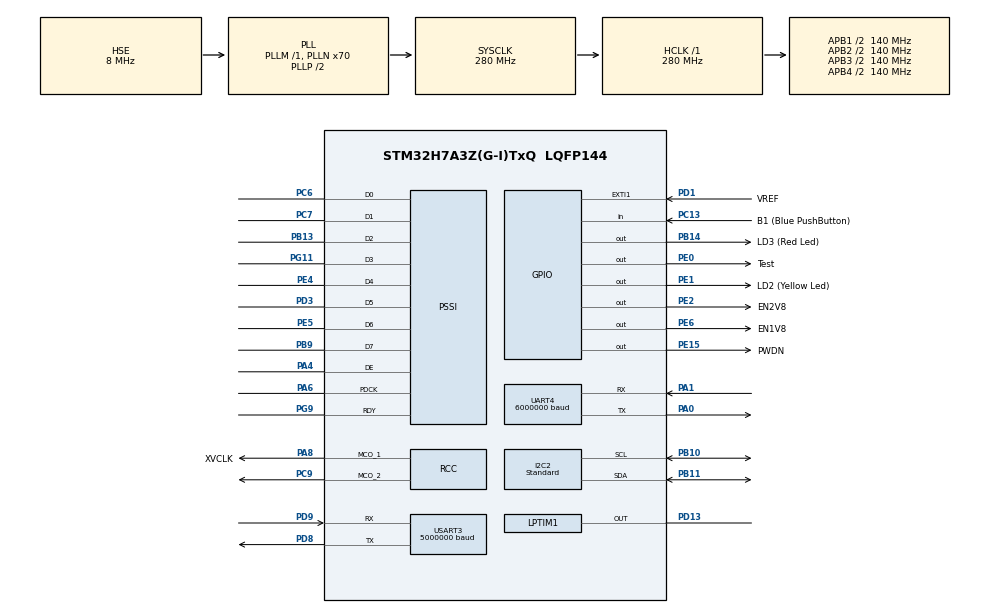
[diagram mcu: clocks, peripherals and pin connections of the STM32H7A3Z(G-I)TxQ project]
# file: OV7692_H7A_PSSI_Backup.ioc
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CORTEX_M7.CPU_DCache=Enabled
CORTEX_M7.CPU_ICache=Enabled
CORTEX_M7.MPU_Control=__NULL
Dma.DCMI_PSSI.0.Direction=DMA_PERIPH_TO_MEMORY
Dma.DCMI_PSSI.0.EventEnable=DISABLE
Dma.DCMI_PSSI.0.FIFOMode=DMA_FIFOMODE_ENABLE
Dma.DCMI_PSSI.0.FIFOThreshold=DMA_FIFO_THRESHOLD_FULL
Dma.DCMI_PSSI.0.Instance=DMA1_Stream0
Dma.DCMI_PSSI.0.MemBurst=DMA_MBURST_SINGLE
Dma.DCMI_PSSI.0.MemDataAlignment=DMA_MDATAALIGN_BYTE
Dma.DCMI_PSSI.0.MemInc=DMA_MINC_ENABLE
Dma.DCMI_PSSI.0.Mode=DMA_NORMAL
Dma.DCMI_PSSI.0.PeriphBurst=DMA_PBURST_SINGLE
Dma.DCMI_PSSI.0.PeriphDataAlignment=DMA_PDATAALIGN_WORD
Dma.DCMI_PSSI.0.PeriphInc=DMA_PINC_DISABLE
Dma.DCMI_PSSI.0.Polarity=HAL_DMAMUX_REQ_GEN_RISING
Dma.DCMI_PSSI.0.Priority=DMA_PRIORITY_LOW
Dma.DCMI_PSSI.0.RequestNumber=1
Dma.DCMI_PSSI.0.SignalID=NONE
Dma.DCMI_PSSI.0.SyncEnable=DISABLE
Dma.DCMI_PSSI.0.SyncPolarity=HAL_DMAMUX_SYNC_NO_EVENT
Dma.DCMI_PSSI.0.SyncRequestNumber=1
Dma.DCMI_PSSI.0.SyncSignalID=NONE
Dma.Request0=DCMI_PSSI
I2C2.I2C_Speed_Mode=I2C_Standard
I2C2.Timing=0x20B0CCFF
Mcu.Family=STM32H7
Mcu.Name=STM32H7A3Z(G-I)TxQ
Mcu.Package=LQFP144
NVIC.DCMI_PSSI_IRQn=true\:0\:0\:false\:false\:true\:true\:true\:true
NVIC.DMA1_Stream0_IRQn=true\:0\:0\:false\:false\:true\:true\:true\:true
NVIC.EXTI1_IRQn=true\:0\:0\:false\:false\:true\:true\:true\:true
NVIC.PriorityGroup=NVIC_PRIORITYGROUP_4
NVIC.UART4_IRQn=true\:0\:0\:false\:false\:true\:true\:true\:true
NVIC.USART3_IRQn=true\:0\:0\:false\:false\:true\:true\:true\:true
PA0.GPIO_Speed=GPIO_SPEED_FREQ_VERY_HIGH
PA0.Mode=Asynchronous
PA0.Signal=UART4_TX
PA1.Mode=Asynchronous
PA1.Signal=UART4_RX
PA4.GPIO_Speed=GPIO_SPEED_FREQ_VERY_HIGH
PA4.Mode=PSSI_8
PA4.Signal=PSSI_DE
PA6.GPIO_Speed=GPIO_SPEED_FREQ_VERY_HIGH
PA6.Mode=PSSI_8
PA6.Signal=PSSI_PDCK
PA8.GPIO_Label=XVCLK
PA8.GPIO_Speed=GPIO_SPEED_FREQ_VERY_HIGH
PA8.Mode=Clock-out-1
PA8.Signal=RCC_MCO_1
PB10.GPIO_Pu=GPIO_PULLUP
PB10.GPIO_Speed=GPIO_SPEED_FREQ_VERY_HIGH
PB10.Mode=I2C
PB10.Signal=I2C2_SCL
PB11.GPIO_Pu=GPIO_PULLUP
PB11.GPIO_Speed=GPIO_SPEED_FREQ_VERY_HIGH
PB11.Mode=I2C
PB11.Signal=I2C2_SDA
PB13.GPIO_Speed=GPIO_SPEED_FREQ_VERY_HIGH
PB13.Mode=PSSI_8
PB13.Signal=PSSI_D2
PB14.GPIO_Label=LD3 (Red Led)
PB14.Signal=GPIO_Output
PB9.GPIO_Speed=GPIO_SPEED_FREQ_VERY_HIGH
PB9.Mode=PSSI_8
PB9.Signal=PSSI_D7
PC13.GPIO_Label=B1 (Blue PushButton)
PC13.Signal=GPIO_Input
PC14-OSC32_IN.GPIO_Label=OSC32_IN
PC14-OSC32_IN.Mode=LSE-External-Oscillator
PC14-OSC32_IN.Signal=RCC_OSC32_IN
PC15-OSC32_OUT.GPIO_Label=OSC32_OUT
PC15-OSC32_OUT.Mode=LSE-External-Oscillator
PC15-OSC32_OUT.Signal=RCC_OSC32_OUT
PC6.GPIO_Speed=GPIO_SPEED_FREQ_VERY_HIGH
PC6.Mode=PSSI_8
PC6.Signal=PSSI_D0
PC7.GPIO_Speed=GPIO_SPEED_FREQ_VERY_HIGH
PC7.Mode=PSSI_8
PC7.Signal=PSSI_D1
PC9.Mode=Clock-out-2
PC9.Signal=RCC_MCO_2
PD1.GPIO_Label=VREF
PD1.GPIO_ModeDefaultEXTI=GPIO_MODE_IT_FALLING
PD1.Signal=GPXTI1
PD13.GPIO_Speed=GPIO_SPEED_FREQ_VERY_HIGH
PD13.Mode=WaveformGeneration
PD13.Signal=LPTIM1_OUT
PD3.GPIO_Speed=GPIO_SPEED_FREQ_VERY_HIGH
PD3.Mode=PSSI_8
PD3.Signal=PSSI_D5
PD8.GPIO_ModeDefaultPP=GPIO_MODE_AF_PP
PD8.GPIO_PuPd=GPIO_NOPULL
PD8.GPIO_Speed=GPIO_SPEED_FREQ_VERY_HIGH
PD8.Mode=Asynchronous
PD8.Signal=USART3_TX
PD9.GPIO_ModeDefaultPP=GPIO_MODE_AF_PP
PD9.GPIO_PuPd=GPIO_NOPULL
PD9.GPIO_Speed=GPIO_SPEED_FREQ_VERY_HIGH
PD9.Mode=Asynchronous
PD9.Signal=USART3_RX
PE0.GPIO_Label=Test
PE0.GPIO_Speed=GPIO_SPEED_FREQ_HIGH
PE0.Signal=GPIO_Output
PE1.GPIO_Label=LD2 (Yellow Led)
PE1.Signal=GPIO_Output
PE15.GPIO_Label=PWDN
PE15.GPIO_PuPd=GPIO_PULLUP
PE15.PinState=GPIO_PIN_SET
PE15.Signal=GPIO_Output
PE2.GPIO_Label=EN2V8
PE2.Signal=GPIO_Output
PE4.GPIO_Speed=GPIO_SPEED_FREQ_VERY_HIGH
PE4.Mode=PSSI_8
PE4.Signal=PSSI_D4
PE5.GPIO_Speed=GPIO_SPEED_FREQ_VERY_HIGH
PE5.Mode=PSSI_8
PE5.Signal=PSSI_D6
PE6.GPIO_Label=EN1V8
PE6.Signal=GPIO_Output
PG11.GPIO_Speed=GPIO_SPEED_FREQ_VERY_HIGH
PG11.Mode=PSSI_8
PG11.Signal=PSSI_D3
PG9.GPIO_Speed=GPIO_SPEED_FREQ_VERY_HIGH
PG9.Mode=PSSI_8
PG9.Signal=PSSI_RDY
PH0-OSC_IN.GPIO_Label=PH0-MCU
PH0-OSC_IN.Mode=HSE-External-Clock-Source
PH0-OSC_IN.Signal=RCC_OSC_IN
PSSI.BusWidth=HAL_PSSI_8LINES
PSSI.ClockPolarity=HAL_PSSI_RISING_EDGE
ProjectManager.HeapSize=0x200
ProjectManager.StackSize=0x400
ProjectManager.TargetToolchain=STM32CubeIDE
RCC.ADCFreq_Value=256000000
RCC.APB1Freq_Value=140000000
RCC.APB2Freq_Value=140000000
RCC.APB3Freq_Value=140000000
RCC.APB4Freq_Value=140000000
RCC.CDPPRE=RCC_APB3_DIV2
RCC.CDPPRE1=RCC_APB1_DIV2
RCC.CDPPRE2=RCC_APB2_DIV2
RCC.CortexFreq_Value=280000000
RCC.DIVM1=1
RCC.DIVM2=1
RCC.DIVM3=1
RCC.DIVN1=70
RCC.DIVN2=64
RCC.DIVN3=24
RCC.DIVQ1=4
RCC.DIVQ2=1
RCC.HCLKFreq_Value=280000000
RCC.HSE_VALUE=8000000
RCC.LPTIM1CLockSelection=RCC_LPTIM1CLKSOURCE_PLL3
RCC.PLLFRACN=0
RCC.PLLSourceVirtual=RCC_PLLSOURCE_HSE
RCC.PWR_Regulator_Voltage_Scale=PWR_REGULATOR_VOLTAGE_SCALE0
RCC.RCC_MCO1Source=RCC_MCO1SOURCE_HSI48
RCC.RCC_MCO2Source=RCC_MCO2SOURCE_HSE
RCC.RCC_MCODiv1=RCC_MCODIV_8
RCC.RCC_MCODiv2=RCC_MCODIV_4
RCC.SRDPPRE=RCC_APB4_DIV2
RCC.SYSCLKFreq_VALUE=280000000
RCC.SYSCLKSource=RCC_SYSCLKSOURCE_PLLCLK
RCC.SupplySource=PWR_DIRECT_SMPS_SUPPLY
RCC.USART234578CLockSelection=RCC_USART234578CLKSOURCE_PLL2
RCC.USBCLockSelection=RCC_USBCLKSOURCE_HSI48
RCC.USBFreq_Value=48000000
RCC.VDD_VALUE=1.8
UART4.BaudRate=6000000
UART4.Mode=MODE_TX
UART4.OverSampling=UART_OVERSAMPLING_8
USART3.BaudRate=5000000
USART3.FIFOMode=FIFOMODE_ENABLE
USART3.Mode=MODE_TX
USART3.OneBitSampling=UART_ONE_BIT_SAMPLE_DISABLE
USART3.OverSampling=UART_OVERSAMPLING_8
USART3.RXFIFOThreshold=RXFIFO_THRESHOLD_1QUARTERFULL
USART3.TXFIFOThreshold=TXFIFO_THRESHOLD_HALFFULL
USART3.VirtualMode-Asynchronous=VM_ASYNC
VP_LPTIM1_VS_LPTIM_counterModeInternalClock.Mode=Counts__internal_clock_event_00
board=NUCLEO-H7A3ZI-Q

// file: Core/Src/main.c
/* USER CODE BEGIN Header */
/**
  DMA_HandleTypeDef				*hdmatx;
  DMA_HandleTypeDef 			*hdmarx;
  ******************************************************************************
  * @file           : main.c
  * @brief          : Main program body
  ******************************************************************************
  * @attention
  *
  * Copyright (c) 2021 STMicroelectronics.
  * All rights reserved.
  *
  * This software is licensed under terms that can be found in the LICENSE file
  * in the root directory of this software component.
  * If no LICENSE file comes with this software, it is provided AS-IS.
  *
  ******************************************************************************
  */
/* USER CODE END Header */
#include "main.h"

/* USER CODE BEGIN Includes */

#include "OV7692.h"

/* USER CODE END Includes */

I2C_HandleTypeDef hi2c2;

LPTIM_HandleTypeDef hlptim1;

PSSI_HandleTypeDef hpssi;
DMA_HandleTypeDef hdma_dcmi_pssi;

UART_HandleTypeDef huart4;
UART_HandleTypeDef huart3;

/* USER CODE BEGIN PV */

//
//
uint32_t PeriodValue = 8 - 1;

uint32_t PulseValue = 4 - 1;
uint32_t length = 638*480*2;
uint8_t data[638*480*2+ 3] = {0};
uint32_t i = 0;
uint32_t j = 0;
uint8_t footer[3] = {13, 0, 10};
uint16_t chunck = 1276;
uint16_t lines = 480;

uint16_t PSSI_HAL_PSSI_TransmitComplete_count = 0;
uint32_t shift = 0;
uint8_t start = 0;
uint8_t end = 0;
uint8_t uart_done = 1;
uint16_t PSSI_HAL_PSSI_ReceiveComplete_count = 0;
uint16_t PSSI_HAL_PSSI_ErrorCallback_count = 0;
/* USER CODE END PV */

void SystemClock_Config(void);
void PeriphCommonClock_Config(void);
static void MX_GPIO_Init(void);
static void MX_I2C2_Init(void);
static void MX_USART3_UART_Init(void);
static void MX_DMA_Init(void);
static void MX_PSSI_Init(void);
static void MX_LPTIM1_Init(void);
static void MX_UART4_Init(void);
/* USER CODE BEGIN PFP */
static void MPU_Config(void);
void transfer_done(void);
//uint32_t data = 0;
/* USER CODE END PFP */

int main(void)
{

  /* Enable I-Cache---------------------------------------------------------*/
  SCB_EnableICache();
//
//  /* Enable D-Cache---------------------------------------------------------*/
  SCB_EnableDCache();

  /* MCU Configuration--------------------------------------------------------*/

  /* Reset of all peripherals, Initializes the Flash interface and the Systick. */
  HAL_Init();

  /* Configure the system clock */
  SystemClock_Config();

/* Configure the peripherals common clocks */
  PeriphCommonClock_Config();

  /* Initialize all configured peripherals */
  MX_GPIO_Init();
  MX_I2C2_Init();
  MX_USART3_UART_Init();
  MX_DMA_Init();
  MX_PSSI_Init();
  MX_LPTIM1_Init();
  MX_UART4_Init();
  /* USER CODE BEGIN 2 */
  MPU_Config();
  HAL_ResumeTick();
  HAL_Delay(10);
  HAL_GPIO_WritePin(EN1V8_GPIO_Port, EN1V8_Pin, GPIO_PIN_SET);
  HAL_Delay(1);
  HAL_GPIO_WritePin(EN2V8_GPIO_Port, EN2V8_Pin, GPIO_PIN_SET);
  HAL_Delay(1);
  HAL_LPTIM_PWM_Start(&hlptim1, PeriodValue, PulseValue);
  HAL_GPIO_WritePin(PWDN_GPIO_Port, PWDN_Pin, GPIO_PIN_RESET);

  camera_init(&hi2c2);
  HAL_Delay(1000);

  __HAL_GPIO_EXTI_CLEAR_IT(VREF_Pin);
  HAL_Delay(1);
  HAL_NVIC_SetPriority(EXTI1_IRQn, 0, 0);
  HAL_NVIC_EnableIRQ(EXTI1_IRQn);

  /* USER CODE END 2 */

  /* Infinite loop */
  /* USER CODE BEGIN WHILE */
 while (1)
  {

	 if (start == 1)
	 {

	    shift = chunck * (PSSI_HAL_PSSI_ReceiveComplete_count + PSSI_HAL_PSSI_ErrorCallback_count);
	    HAL_PSSI_Receive_DMA(&hpssi, (uint32_t*)&data[shift] , chunck);
	    HAL_SuspendTick();
	    HAL_PWR_EnterSLEEPMode(PWR_MAINREGULATOR_ON, PWR_SLEEPENTRY_WFI);
	 }
	 if (end == 1)
	 {
		 end = 0;
		 HAL_ResumeTick();
		 PSSI_HAL_PSSI_ReceiveComplete_count = 0;
		 PSSI_HAL_PSSI_ErrorCallback_count = 0;
		 i=0;
		 while(i < 551233)
		 {
//			 if(uart_done == 1)
//		 	 {
//			 	 uart_done = 0;

			 	 HAL_UART_Transmit(&huart3, &data[i], 61248, 0xFFFF);
			 	 i = i + 61248;
//		 	 }
		 }
		 HAL_UART_Transmit(&huart3, footer, 3, 0xFF);
		 HAL_Delay(90);
		 HAL_GPIO_WritePin(Test_GPIO_Port, Test_Pin, GPIO_PIN_RESET);
		  __HAL_GPIO_EXTI_CLEAR_IT(VREF_Pin);
		  HAL_NVIC_SetPriority(EXTI1_IRQn, 0, 0);
		  HAL_NVIC_EnableIRQ(EXTI1_IRQn);

	 }

    /* USER CODE END WHILE */

  }
}

void SystemClock_Config(void)
{
  RCC_OscInitTypeDef RCC_OscInitStruct = {0};
  RCC_ClkInitTypeDef RCC_ClkInitStruct = {0};

  /** Supply configuration update enable
  */
  HAL_PWREx_ConfigSupply(PWR_DIRECT_SMPS_SUPPLY);
  /** Configure the main internal regulator output voltage
  */
  __HAL_PWR_VOLTAGESCALING_CONFIG(PWR_REGULATOR_VOLTAGE_SCALE0);

  while(!__HAL_PWR_GET_FLAG(PWR_FLAG_VOSRDY)) {}
  /** Macro to configure the PLL clock source
  */
  __HAL_RCC_PLL_PLLSOURCE_CONFIG(RCC_PLLSOURCE_HSE);
  /** Initializes the RCC Oscillators according to the specified parameters
  * in the RCC_OscInitTypeDef structure.
  */
  RCC_OscInitStruct.OscillatorType = RCC_OSCILLATORTYPE_HSI48|RCC_OSCILLATORTYPE_HSE;
  RCC_OscInitStruct.HSEState = RCC_HSE_BYPASS;
  RCC_OscInitStruct.HSI48State = RCC_HSI48_ON;
  RCC_OscInitStruct.PLL.PLLState = RCC_PLL_ON;
  RCC_OscInitStruct.PLL.PLLSource = RCC_PLLSOURCE_HSE;
  RCC_OscInitStruct.PLL.PLLM = 1;
  RCC_OscInitStruct.PLL.PLLN = 70;
  RCC_OscInitStruct.PLL.PLLP = 2;
  RCC_OscInitStruct.PLL.PLLQ = 4;
  RCC_OscInitStruct.PLL.PLLR = 2;
  RCC_OscInitStruct.PLL.PLLRGE = RCC_PLL1VCIRANGE_3;
  RCC_OscInitStruct.PLL.PLLVCOSEL = RCC_PLL1VCOWIDE;
  RCC_OscInitStruct.PLL.PLLFRACN = 0;
  if (HAL_RCC_OscConfig(&RCC_OscInitStruct) != HAL_OK)
  {
    Error_Handler();
  }
  /** Initializes the CPU, AHB and APB buses clocks
  */
  RCC_ClkInitStruct.ClockType = RCC_CLOCKTYPE_HCLK|RCC_CLOCKTYPE_SYSCLK
                              |RCC_CLOCKTYPE_PCLK1|RCC_CLOCKTYPE_PCLK2
                              |RCC_CLOCKTYPE_D3PCLK1|RCC_CLOCKTYPE_D1PCLK1;
  RCC_ClkInitStruct.SYSCLKSource = RCC_SYSCLKSOURCE_PLLCLK;
  RCC_ClkInitStruct.SYSCLKDivider = RCC_SYSCLK_DIV1;
  RCC_ClkInitStruct.AHBCLKDivider = RCC_HCLK_DIV1;
  RCC_ClkInitStruct.APB3CLKDivider = RCC_APB3_DIV2;
  RCC_ClkInitStruct.APB1CLKDivider = RCC_APB1_DIV2;
  RCC_ClkInitStruct.APB2CLKDivider = RCC_APB2_DIV2;
  RCC_ClkInitStruct.APB4CLKDivider = RCC_APB4_DIV2;

  if (HAL_RCC_ClockConfig(&RCC_ClkInitStruct, FLASH_LATENCY_7) != HAL_OK)
  {
    Error_Handler();
  }
  HAL_RCC_MCOConfig(RCC_MCO1, RCC_MCO1SOURCE_HSI48, RCC_MCODIV_8);
  HAL_RCC_MCOConfig(RCC_MCO2, RCC_MCO2SOURCE_HSE, RCC_MCODIV_4);
}

void PeriphCommonClock_Config(void)
{
  RCC_PeriphCLKInitTypeDef PeriphClkInitStruct = {0};

  /** Initializes the peripherals clock
  */
  PeriphClkInitStruct.PeriphClockSelection = RCC_PERIPHCLK_UART4|RCC_PERIPHCLK_USART3;
  PeriphClkInitStruct.PLL2.PLL2M = 1;
  PeriphClkInitStruct.PLL2.PLL2N = 64;
  PeriphClkInitStruct.PLL2.PLL2P = 2;
  PeriphClkInitStruct.PLL2.PLL2Q = 1;
  PeriphClkInitStruct.PLL2.PLL2R = 2;
  PeriphClkInitStruct.PLL2.PLL2RGE = RCC_PLL2VCIRANGE_3;
  PeriphClkInitStruct.PLL2.PLL2VCOSEL = RCC_PLL2VCOWIDE;
  PeriphClkInitStruct.PLL2.PLL2FRACN = 0;
  PeriphClkInitStruct.Usart234578ClockSelection = RCC_USART234578CLKSOURCE_PLL2;
  if (HAL_RCCEx_PeriphCLKConfig(&PeriphClkInitStruct) != HAL_OK)
  {
    Error_Handler();
  }
}

static void MX_I2C2_Init(void)
{

  hi2c2.Instance = I2C2;
  hi2c2.Init.Timing = 0x20B0CCFF;
  hi2c2.Init.OwnAddress1 = 0;
  hi2c2.Init.AddressingMode = I2C_ADDRESSINGMODE_7BIT;
  hi2c2.Init.DualAddressMode = I2C_DUALADDRESS_DISABLE;
  hi2c2.Init.OwnAddress2 = 0;
  hi2c2.Init.OwnAddress2Masks = I2C_OA2_NOMASK;
  hi2c2.Init.GeneralCallMode = I2C_GENERALCALL_DISABLE;
  hi2c2.Init.NoStretchMode = I2C_NOSTRETCH_DISABLE;
  if (HAL_I2C_Init(&hi2c2) != HAL_OK)
  {
    Error_Handler();
  }
  /** Configure Analogue filter
  */
  if (HAL_I2CEx_ConfigAnalogFilter(&hi2c2, I2C_ANALOGFILTER_ENABLE) != HAL_OK)
  {
    Error_Handler();
  }
  /** Configure Digital filter
  */
  if (HAL_I2CEx_ConfigDigitalFilter(&hi2c2, 0) != HAL_OK)
  {
    Error_Handler();
  }

}

static void MX_LPTIM1_Init(void)
{

  hlptim1.Instance = LPTIM1;
  hlptim1.Init.Clock.Source = LPTIM_CLOCKSOURCE_APBCLOCK_LPOSC;
  hlptim1.Init.Clock.Prescaler = LPTIM_PRESCALER_DIV1;
  hlptim1.Init.Trigger.Source = LPTIM_TRIGSOURCE_SOFTWARE;
  hlptim1.Init.OutputPolarity = LPTIM_OUTPUTPOLARITY_HIGH;
  hlptim1.Init.UpdateMode = LPTIM_UPDATE_IMMEDIATE;
  hlptim1.Init.CounterSource = LPTIM_COUNTERSOURCE_INTERNAL;
  hlptim1.Init.Input1Source = LPTIM_INPUT1SOURCE_GPIO;
  hlptim1.Init.Input2Source = LPTIM_INPUT2SOURCE_GPIO;
  if (HAL_LPTIM_Init(&hlptim1) != HAL_OK)
  {
    Error_Handler();
  }

}

static void MX_PSSI_Init(void)
{

  hpssi.Instance = PSSI;
  hpssi.Init.DataWidth = HAL_PSSI_8BITS;
  hpssi.Init.BusWidth = HAL_PSSI_8LINES;
  hpssi.Init.ControlSignal = HAL_PSSI_DE_RDY_DISABLE;
  hpssi.Init.ClockPolarity = HAL_PSSI_RISING_EDGE;
  hpssi.Init.DataEnablePolarity = HAL_PSSI_DEPOL_ACTIVE_LOW;
  hpssi.Init.ReadyPolarity = HAL_PSSI_RDYPOL_ACTIVE_LOW;
  if (HAL_PSSI_Init(&hpssi) != HAL_OK)
  {
    Error_Handler();
  }

}

static void MX_UART4_Init(void)
{

  huart4.Instance = UART4;
  huart4.Init.BaudRate = 6000000;
  huart4.Init.WordLength = UART_WORDLENGTH_8B;
  huart4.Init.StopBits = UART_STOPBITS_1;
  huart4.Init.Parity = UART_PARITY_NONE;
  huart4.Init.Mode = UART_MODE_TX;
  huart4.Init.HwFlowCtl = UART_HWCONTROL_NONE;
  huart4.Init.OverSampling = UART_OVERSAMPLING_8;
  huart4.Init.OneBitSampling = UART_ONE_BIT_SAMPLE_DISABLE;
  huart4.Init.ClockPrescaler = UART_PRESCALER_DIV1;
  huart4.AdvancedInit.AdvFeatureInit = UART_ADVFEATURE_NO_INIT;
  if (HAL_UART_Init(&huart4) != HAL_OK)
  {
    Error_Handler();
  }
  if (HAL_UARTEx_SetTxFifoThreshold(&huart4, UART_TXFIFO_THRESHOLD_1_8) != HAL_OK)
  {
    Error_Handler();
  }
  if (HAL_UARTEx_SetRxFifoThreshold(&huart4, UART_RXFIFO_THRESHOLD_1_8) != HAL_OK)
  {
    Error_Handler();
  }
  if (HAL_UARTEx_DisableFifoMode(&huart4) != HAL_OK)
  {
    Error_Handler();
  }

}

static void MX_USART3_UART_Init(void)
{

  huart3.Instance = USART3;
  huart3.Init.BaudRate = 7000000;
  huart3.Init.WordLength = UART_WORDLENGTH_8B;
  huart3.Init.StopBits = UART_STOPBITS_1;
  huart3.Init.Parity = UART_PARITY_NONE;
  huart3.Init.Mode = UART_MODE_TX;
  huart3.Init.HwFlowCtl = UART_HWCONTROL_NONE;
  huart3.Init.OverSampling = UART_OVERSAMPLING_8;
  huart3.Init.OneBitSampling = UART_ONE_BIT_SAMPLE_DISABLE;
  huart3.Init.ClockPrescaler = UART_PRESCALER_DIV1;
  huart3.AdvancedInit.AdvFeatureInit = UART_ADVFEATURE_NO_INIT;
  if (HAL_UART_Init(&huart3) != HAL_OK)
  {
    Error_Handler();
  }

  /* USER CODE BEGIN USART3_Init 2 */

//  HAL_UART_RegisterCallback(&huart3, HAL_UART_TX_COMPLETE_CB_ID, transfer_done);
  /* USER CODE END USART3_Init 2 */

}

static void MX_DMA_Init(void)
{

  /* DMA controller clock enable */
  __HAL_RCC_DMA1_CLK_ENABLE();

  /* DMA interrupt init */
  /* DMA1_Stream0_IRQn interrupt configuration */
  HAL_NVIC_SetPriority(DMA1_Stream0_IRQn, 0, 0);
  HAL_NVIC_EnableIRQ(DMA1_Stream0_IRQn);

}

static void MX_GPIO_Init(void)
{
  GPIO_InitTypeDef GPIO_InitStruct = {0};

  /* GPIO Ports Clock Enable */
  __HAL_RCC_GPIOE_CLK_ENABLE();
  __HAL_RCC_GPIOC_CLK_ENABLE();
  __HAL_RCC_GPIOH_CLK_ENABLE();
  __HAL_RCC_GPIOA_CLK_ENABLE();
  __HAL_RCC_GPIOB_CLK_ENABLE();
  __HAL_RCC_GPIOD_CLK_ENABLE();
  __HAL_RCC_GPIOG_CLK_ENABLE();

  /*Configure GPIO pin Output Level */
  HAL_GPIO_WritePin(GPIOE, EN2V8_Pin|EN1V8_Pin|Test_Pin|LD2_Pin, GPIO_PIN_RESET);

  /*Configure GPIO pin Output Level */
  HAL_GPIO_WritePin(PWDN_GPIO_Port, PWDN_Pin, GPIO_PIN_SET);

  /*Configure GPIO pin Output Level */
  HAL_GPIO_WritePin(LD3_GPIO_Port, LD3_Pin, GPIO_PIN_RESET);

  /*Configure GPIO pins : EN2V8_Pin EN1V8_Pin LD2_Pin */
  GPIO_InitStruct.Pin = EN2V8_Pin|EN1V8_Pin|LD2_Pin;
  GPIO_InitStruct.Mode = GPIO_MODE_OUTPUT_PP;
  GPIO_InitStruct.Pull = GPIO_NOPULL;
  GPIO_InitStruct.Speed = GPIO_SPEED_FREQ_LOW;
  HAL_GPIO_Init(GPIOE, &GPIO_InitStruct);

  /*Configure GPIO pin : B1_Pin */
  GPIO_InitStruct.Pin = B1_Pin;
  GPIO_InitStruct.Mode = GPIO_MODE_INPUT;
  GPIO_InitStruct.Pull = GPIO_NOPULL;
  HAL_GPIO_Init(B1_GPIO_Port, &GPIO_InitStruct);

  /*Configure GPIO pin : PWDN_Pin */
  GPIO_InitStruct.Pin = PWDN_Pin;
  GPIO_InitStruct.Mode = GPIO_MODE_OUTPUT_PP;
  GPIO_InitStruct.Pull = GPIO_PULLUP;
  GPIO_InitStruct.Speed = GPIO_SPEED_FREQ_LOW;
  HAL_GPIO_Init(PWDN_GPIO_Port, &GPIO_InitStruct);

  /*Configure GPIO pin : LD3_Pin */
  GPIO_InitStruct.Pin = LD3_Pin;
  GPIO_InitStruct.Mode = GPIO_MODE_OUTPUT_PP;
  GPIO_InitStruct.Pull = GPIO_NOPULL;
  GPIO_InitStruct.Speed = GPIO_SPEED_FREQ_LOW;
  HAL_GPIO_Init(LD3_GPIO_Port, &GPIO_InitStruct);

  /*Configure GPIO pin : PC9 */
  GPIO_InitStruct.Pin = GPIO_PIN_9;
  GPIO_InitStruct.Mode = GPIO_MODE_AF_PP;
  GPIO_InitStruct.Pull = GPIO_NOPULL;
  GPIO_InitStruct.Speed = GPIO_SPEED_FREQ_LOW;
  GPIO_InitStruct.Alternate = GPIO_AF0_MCO;
  HAL_GPIO_Init(GPIOC, &GPIO_InitStruct);

  /*Configure GPIO pin : XVCLK_Pin */
  GPIO_InitStruct.Pin = XVCLK_Pin;
  GPIO_InitStruct.Mode = GPIO_MODE_AF_PP;
  GPIO_InitStruct.Pull = GPIO_NOPULL;
  GPIO_InitStruct.Speed = GPIO_SPEED_FREQ_VERY_HIGH;
  GPIO_InitStruct.Alternate = GPIO_AF0_MCO;
  HAL_GPIO_Init(XVCLK_GPIO_Port, &GPIO_InitStruct);

  /*Configure GPIO pin : VREF_Pin */
  GPIO_InitStruct.Pin = VREF_Pin;
  GPIO_InitStruct.Mode = GPIO_MODE_IT_FALLING;
  GPIO_InitStruct.Pull = GPIO_NOPULL;
  HAL_GPIO_Init(VREF_GPIO_Port, &GPIO_InitStruct);

  /*Configure GPIO pin : Test_Pin */
  GPIO_InitStruct.Pin = Test_Pin;
  GPIO_InitStruct.Mode = GPIO_MODE_OUTPUT_PP;
  GPIO_InitStruct.Pull = GPIO_NOPULL;
  GPIO_InitStruct.Speed = GPIO_SPEED_FREQ_HIGH;
  HAL_GPIO_Init(Test_GPIO_Port, &GPIO_InitStruct);

  /* EXTI interrupt init*/

}

/* USER CODE BEGIN 4 */
static void MPU_Config(void)
{
  MPU_Region_InitTypeDef MPU_InitStruct;

  /* Disable the MPU */
  HAL_MPU_Disable();

  /* Configure the MPU as Strongly ordered for not defined regions */
  MPU_InitStruct.Enable = MPU_REGION_ENABLE;
  MPU_InitStruct.BaseAddress = 0x00;
  MPU_InitStruct.Size = MPU_REGION_SIZE_4GB;
  MPU_InitStruct.AccessPermission = MPU_REGION_NO_ACCESS;
  MPU_InitStruct.IsBufferable = MPU_ACCESS_NOT_BUFFERABLE;
  MPU_InitStruct.IsCacheable = MPU_ACCESS_NOT_CACHEABLE;
  MPU_InitStruct.IsShareable = MPU_ACCESS_SHAREABLE;
  MPU_InitStruct.Number = MPU_REGION_NUMBER0;
  MPU_InitStruct.TypeExtField = MPU_TEX_LEVEL0;
  MPU_InitStruct.SubRegionDisable = 0x87;
  MPU_InitStruct.DisableExec = MPU_INSTRUCTION_ACCESS_DISABLE;

  HAL_MPU_ConfigRegion(&MPU_InitStruct);

  /* Enable the MPU */
  HAL_MPU_Enable(MPU_PRIVILEGED_DEFAULT);
}
void HAL_GPIO_EXTI_Callback(uint16_t GPIO_Pin)
{

	if (GPIO_Pin == VREF_Pin)
	{

		HAL_GPIO_WritePin(Test_GPIO_Port, Test_Pin, GPIO_PIN_SET);

		__HAL_GPIO_EXTI_CLEAR_IT(VREF_Pin);
		HAL_NVIC_DisableIRQ(EXTI1_IRQn);
		start = 1;

	}

}
void HAL_PSSI_TxCpltCallback(PSSI_HandleTypeDef *hpssi)
{
  PSSI_HAL_PSSI_TransmitComplete_count++;
}

 void HAL_PSSI_RxCpltCallback(PSSI_HandleTypeDef *hpssi)
{
  PSSI_HAL_PSSI_ReceiveComplete_count++;

  if (PSSI_HAL_PSSI_ReceiveComplete_count == lines)
  {
	  start = 0;
	  end = 1;

//	  HAL_GPIO_WritePin(Test_GPIO_Port, Test_Pin, GPIO_PIN_RESET);

  }
}

void HAL_PSSI_ErrorCallback(PSSI_HandleTypeDef *hpssi)
{
  PSSI_HAL_PSSI_ErrorCallback_count++;
  j = HAL_PSSI_GetError(hpssi);
}
void transfer_done()
{
	uart_done = 1;
}
/* USER CODE END 4 */

void Error_Handler(void)
{
  /* USER CODE BEGIN Error_Handler_Debug */
//  /* User can add his own implementation to report the HAL error return state */
//  __disable_irq();
//  while (1)
//  {
//  }
  /* USER CODE END Error_Handler_Debug */
}
